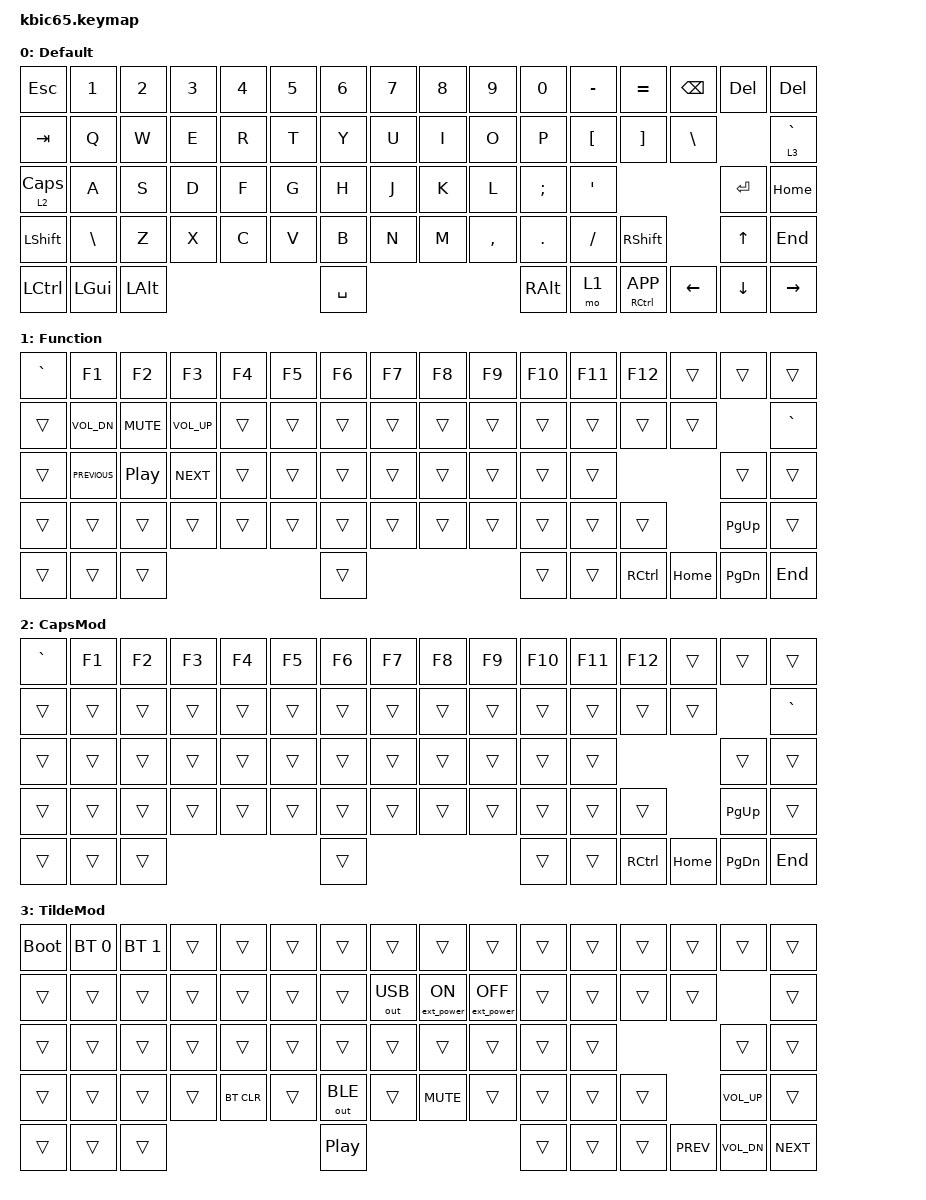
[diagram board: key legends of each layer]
/*
 * Copyright (c) 2020 The ZMK Contributors
 *
 * SPDX-License-Identifier: MIT
 */

#include <behaviors.dtsi>
#include <dt-bindings/zmk/bt.h>
#include <dt-bindings/zmk/ext_power.h>
#include <dt-bindings/zmk/keys.h>
#include <dt-bindings/zmk/outputs.h>

/ {
    keymap {
        compatible = "zmk,keymap";

        default_layer {
            label = "Default";
            bindings = <
&kp ESC     &kp N1    &kp N2    &kp N3  &kp N4  &kp N5  &kp N6     &kp N7  &kp N8  &kp N9     &kp N0    &kp MINUS  &kp EQUAL        &kp BSPC       &kp DEL    &kp DEL
&kp TAB     &kp Q     &kp W     &kp E   &kp R   &kp T   &kp Y      &kp U   &kp I   &kp O      &kp P     &kp LBKT   &kp RBKT         &kp BACKSLASH             &lt 3 GRAVE
&lt 2 CLCK  &kp A     &kp S     &kp D   &kp F   &kp G   &kp H      &kp J   &kp K   &kp L      &kp SEMI  &kp SQT                                    &kp ENTER  &kp HOME
&kp LSHFT   &kp BSLH  &kp Z     &kp X   &kp C   &kp V   &kp B      &kp N   &kp M   &kp COMMA  &kp DOT   &kp FSLH   &kp RSHFT                       &kp UP     &kp END
&kp LCTRL   &kp LGUI  &kp LALT                          &kp SPACE                             &kp RALT  &mo 1      &mt RCTRL K_APP  &kp LEFT       &kp DOWN   &kp RIGHT
            >;
        };

        function_layer {
            label = "Function";
            bindings = <
&kp GRAVE  &kp F1          &kp F2            &kp F3        &kp F4  &kp F5  &kp F6  &kp F7  &kp F8  &kp F9  &kp F10  &kp F11  &kp F12    &trans    &trans     &trans
&trans     &kp C_VOL_DN    &kp K_MUTE        &kp C_VOL_UP  &trans  &trans  &trans  &trans  &trans  &trans  &trans   &trans   &trans     &trans               &kp GRAVE
&trans     &kp C_PREVIOUS  &kp C_PLAY_PAUSE  &kp C_NEXT    &trans  &trans  &trans  &trans  &trans  &trans  &trans   &trans                        &trans     &trans
&trans     &trans          &trans            &trans        &trans  &trans  &trans  &trans  &trans  &trans  &trans   &trans   &trans               &kp PG_UP  &trans
&trans     &trans          &trans                                          &trans                          &trans   &trans   &kp RCTRL  &kp HOME  &kp PG_DN  &kp END
            >;
        };

        caps_mod_layer {
            label = "CapsMod";
            bindings = <
&kp GRAVE  &kp F1  &kp F2  &kp F3  &kp F4  &kp F5  &kp F6  &kp F7  &kp F8  &kp F9  &kp F10  &kp F11  &kp F12    &trans    &trans     &trans
&trans     &trans  &trans  &trans  &trans  &trans  &trans  &trans  &trans  &trans  &trans   &trans   &trans     &trans               &kp GRAVE
&trans     &trans  &trans  &trans  &trans  &trans  &trans  &trans  &trans  &trans  &trans   &trans                        &trans     &trans
&trans     &trans  &trans  &trans  &trans  &trans  &trans  &trans  &trans  &trans  &trans   &trans   &trans               &kp PG_UP  &trans
&trans     &trans  &trans                          &trans                          &trans   &trans   &kp RCTRL  &kp HOME  &kp PG_DN  &kp END
            >;
        };

        tilde_mod_layer {
            label = "TildeMod";
            bindings = <
&bootloader  &bt BT_SEL 0  &bt BT_SEL 1  &trans  &trans      &trans  &trans        &trans        &trans            &trans             &trans  &trans  &trans  &trans      &trans        &trans
&trans       &trans        &trans        &trans  &trans      &trans  &trans        &out OUT_USB  &ext_power EP_ON  &ext_power EP_OFF  &trans  &trans  &trans  &trans                    &trans
&trans       &trans        &trans        &trans  &trans      &trans  &trans        &trans        &trans            &trans             &trans  &trans                      &trans        &trans
&trans       &trans        &trans        &trans  &bt BT_CLR  &trans  &out OUT_BLE  &trans        &kp C_MUTE        &trans             &trans  &trans  &trans              &kp C_VOL_UP  &trans
&trans       &trans        &trans                                    &kp C_PP                                                         &trans  &trans  &trans  &kp C_PREV  &kp C_VOL_DN  &kp C_NEXT
            >;
        };
    };
};
